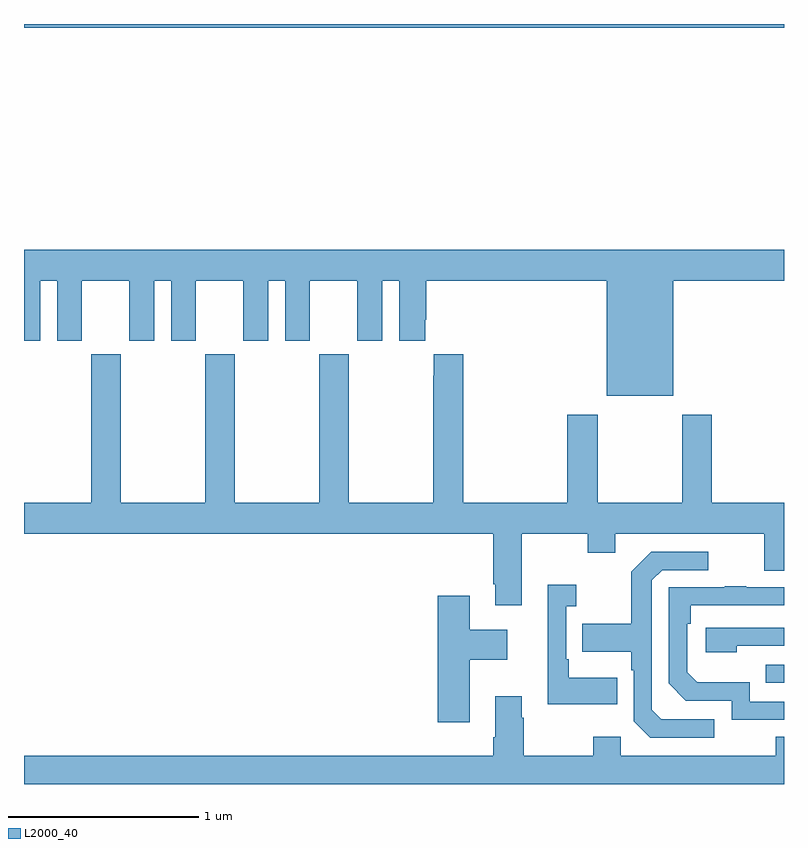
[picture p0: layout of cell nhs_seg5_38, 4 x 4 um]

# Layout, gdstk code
import gdstk
lib = gdstk.Library(unit=1e-6, precision=1e-09)
def R(c, l, rs):  # rectangles x0, y0, x1, y1
    for r in rs: c.add(gdstk.rectangle(r[:2], r[2:], *l))
def P(c, l, *ps):  # polygons
    for p in ps: c.add(gdstk.Polygon(p, *l))
L2000_40 = (2000, 40)

nhs_seg5_38 = lib.new_cell('nhs_seg5_38')
R(nhs_seg5_38, L2000_40, [(116.905,833.331,117,833.427), (113,836.78,117,836.799)])
P(nhs_seg5_38, L2000_40, [(116.416,835.448),(117,835.448),(117,835.612),(113,835.612),(113,835.131),(113.086,835.131),(113.086,835.448),(113.174,835.448),(113.174,835.131),(113.305,835.131),(113.305,835.448),(113.555,835.448),(113.555,835.131),(113.686,835.131),(113.686,835.448),(113.774,835.448),(113.774,835.131),(113.905,835.131),(113.905,835.448),(114.155,835.448),(114.155,835.131),(114.286,835.131),(114.286,835.448),(114.374,835.448),(114.374,835.131),(114.505,835.131),(114.505,835.448),(114.755,835.448),(114.755,835.131),(114.886,835.131),(114.886,835.448),(114.974,835.448),(114.974,835.131),(115.111,835.131),(115.111,835.243),(115.118,835.243),(115.118,835.448),(116.066,835.448),(116.066,834.842),(116.416,834.842)],
  [(115.621,834.116),(115.966,834.116),(115.966,834.017),(116.113,834.017),(116.113,834.116),(116.897,834.116),(116.897,833.922),(117,833.922),(117,834.28),(116.619,834.28),(116.619,834.742),(116.464,834.742),(116.464,834.28),(116.019,834.28),(116.019,834.742),(115.859,834.742),(115.859,834.28),(115.313,834.28),(115.313,835.06),(115.157,835.06),(115.157,834.947),(115.153,834.947),(115.153,834.28),(114.708,834.28),(114.708,835.06),(114.553,835.06),(114.553,834.28),(114.108,834.28),(114.108,835.06),(113.953,835.06),(113.953,834.28),(113.508,834.28),(113.508,835.06),(113.353,835.06),(113.353,834.28),(113,834.28),(113,834.116),(115.469,834.116),(115.469,833.851),(115.481,833.851),(115.481,833.739),(115.621,833.739)],
  [(116.632,833.139),(116.355,833.139),(116.304,833.19),(116.304,833.871),(116.358,833.925),(116.602,833.925),(116.602,834.021),(116.301,834.021),(116.196,833.915),(116.196,833.643),(115.939,833.643),(115.939,833.495),(116.196,833.495),(116.196,833.399),(116.208,833.399),(116.208,833.13),(116.295,833.043),(116.632,833.043)],
  [(116.123,833.359),(115.867,833.359),(115.867,833.455),(115.854,833.455),(115.854,833.735),(115.906,833.735),(115.906,833.848),(115.757,833.848),(115.757,833.219),(116.123,833.219)],
  [(117,833.232),(116.82,833.232),(116.82,833.335),(116.543,833.335),(116.49,833.388),(116.49,833.642),(116.51,833.642),(116.51,833.739),(117,833.739),(117,833.835),(116.801,833.835),(116.801,833.84),(116.689,833.84),(116.689,833.835),(116.394,833.835),(116.394,833.328),(116.484,833.238),(116.724,833.238),(116.724,833.136),(117,833.136)],
  [(115.345,833.453),(115.543,833.453),(115.543,833.611),(115.345,833.611),(115.345,833.791),(115.178,833.791),(115.178,833.124),(115.345,833.124)],
  [(116.75,833.526),(117,833.526),(117,833.622),(116.589,833.622),(116.589,833.492),(116.75,833.492)],
  [(117,833.047),(116.956,833.047),(116.956,832.948),(116.142,832.948),(116.142,833.047),(115.996,833.047),(115.996,832.948),(115.629,832.948),(115.629,833.147),(115.621,833.147),(115.621,833.26),(115.481,833.26),(115.481,833.044),(115.469,833.044),(115.469,832.948),(113,832.948),(113,832.799),(117,832.799)])

lib.write_gds('nhs_seg5_38.gds')
